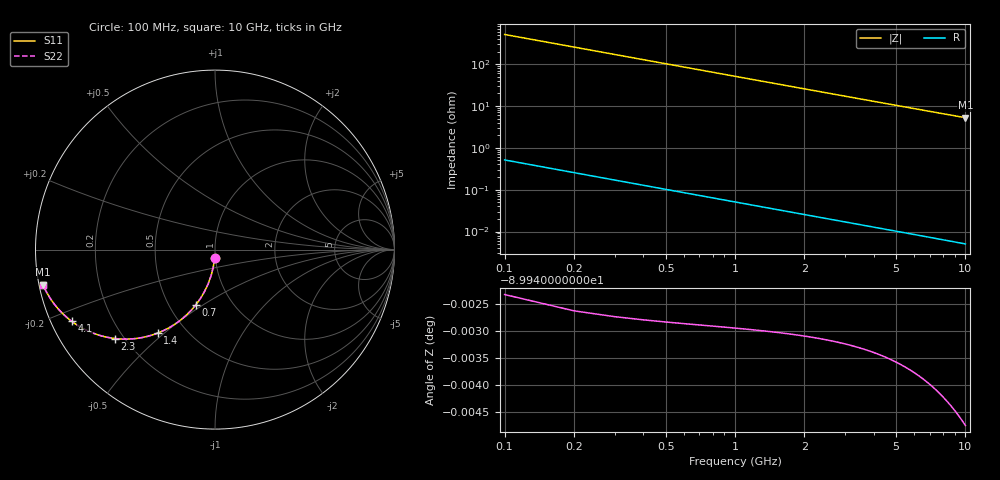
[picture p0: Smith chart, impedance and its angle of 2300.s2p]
# Hz S RI R 50.00
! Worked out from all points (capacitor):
!   100 points, 100 MHz to 10 GHz, reference 50 ohm
!   read as one part in shunt: C = 3.12 pF near 100 MHz
!   lowest |Z| = 5.25 ohm at 10 GHz (marker M1)
!   S11 on the Smith chart (normalised r, x): 100 MHz: 0.99, -0.10; 700 MHz: 0.68, -0.47; 1.4 GHz: 0.35, -0.48; 2.3 GHz: 0.17, -0.37; 4.1 GHz: 0.06, -0.24; 10 GHz: 0.01, -0.10
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1e8  -0.00243 -0.0488  0.9976 -0.0489  0.9976 -0.0489  -0.00243 -0.0488
2e8  -0.00958 -0.0969  0.9904 -0.097  0.9904 -0.097  -0.00958 -0.0969
3e8  -0.0212 -0.1436  0.9788 -0.1438  0.9788 -0.1438  -0.0212 -0.1436
4e8  -0.0371 -0.1883  0.9629 -0.1886  0.9629 -0.1886  -0.0371 -0.1883
5e8  -0.0567 -0.2305  0.9433 -0.2309  0.9433 -0.2309  -0.0567 -0.2305
6e8  -0.0795 -0.2699  0.9205 -0.2703  0.9205 -0.2703  -0.0795 -0.2699
7e8  -0.1051 -0.306  0.8949 -0.3065  0.8949 -0.3065  -0.1051 -0.306
8e8  -0.1329 -0.3387  0.8671 -0.3393  0.8671 -0.3393  -0.1329 -0.3387
1e9  -0.193 -0.3938  0.807 -0.3945  0.807 -0.3945  -0.193 -0.3938
1.2e9  -0.2559 -0.4355  0.7441 -0.4363  0.7441 -0.4363  -0.2559 -0.4355
1.4e9  -0.3186 -0.465  0.6814 -0.4659  0.6814 -0.4659  -0.3186 -0.465
1.6e9  -0.3788 -0.4841  0.6212 -0.4851  0.6212 -0.4851  -0.3788 -0.4841
1.8e9  -0.4353 -0.4947  0.5647 -0.4959  0.5647 -0.4959  -0.4353 -0.4947
2.3e9  -0.5565 -0.4955  0.4435 -0.4971  0.4435 -0.4971  -0.5565 -0.4955
2.8e9  -0.6497 -0.4756  0.3503 -0.4775  0.3503 -0.4775  -0.6497 -0.4756
3.4e9  -0.7316 -0.4415  0.2683 -0.4437  0.2683 -0.4437  -0.7316 -0.4415
4.1e9  -0.7981 -0.3995  0.2019 -0.4023  0.2019 -0.4023  -0.7981 -0.3995
5.1e9  -0.8591 -0.3457  0.1409 -0.3492  0.1409 -0.3492  -0.8591 -0.3457
5.8e9  -0.8873 -0.3138  0.1127 -0.3177  0.1127 -0.3177  -0.8873 -0.3138
6.7e9  -0.9129 -0.2791  0.087 -0.2837  0.087 -0.2837  -0.9129 -0.2791
8.4e9  -0.9427 -0.229  0.0573 -0.2348  0.0573 -0.2348  -0.9427 -0.229
1e10  -0.9589 -0.1946  0.0411 -0.2015  0.0411 -0.2015  -0.9589 -0.1946
